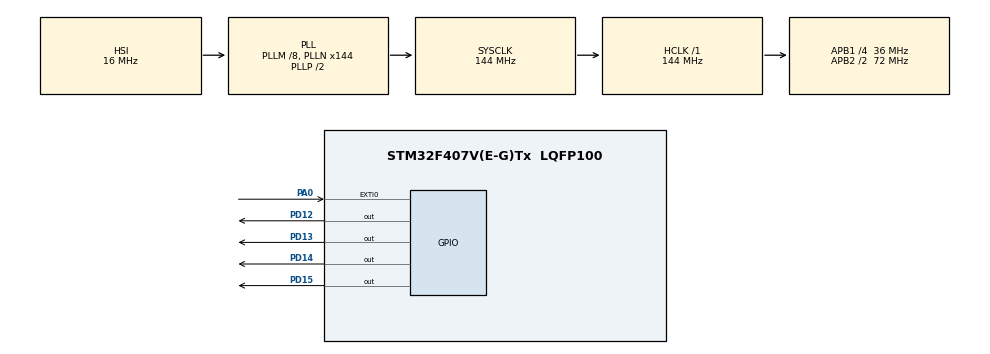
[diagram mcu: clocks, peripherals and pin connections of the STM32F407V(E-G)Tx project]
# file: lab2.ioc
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Mcu.Family=STM32F4
Mcu.Name=STM32F407V(E-G)Tx
Mcu.Package=LQFP100
NVIC.EXTI0_IRQn=true\:0\:0\:false\:false\:true\:true\:true\:true
NVIC.PriorityGroup=NVIC_PRIORITYGROUP_4
NVIC.TIM3_IRQn=true\:0\:0\:false\:false\:true\:true\:true\:true
PA0-WKUP.GPIO_ModeDefaultEXTI=GPIO_MODE_IT_RISING_FALLING
PA0-WKUP.Signal=GPXTI0
PA13.Mode=Serial_Wire
PA13.Signal=SYS_JTMS-SWDIO
PA14.Mode=Serial_Wire
PA14.Signal=SYS_JTCK-SWCLK
PC14-OSC32_IN.Mode=LSE-External-Oscillator
PC14-OSC32_IN.Signal=RCC_OSC32_IN
PC15-OSC32_OUT.Mode=LSE-External-Oscillator
PC15-OSC32_OUT.Signal=RCC_OSC32_OUT
PD12.Signal=GPIO_Output
PD13.Signal=GPIO_Output
PD14.Signal=GPIO_Output
PD15.Signal=GPIO_Output
PH0-OSC_IN.Mode=HSE-External-Oscillator
PH0-OSC_IN.Signal=RCC_OSC_IN
PH1-OSC_OUT.Mode=HSE-External-Oscillator
PH1-OSC_OUT.Signal=RCC_OSC_OUT
ProjectManager.HeapSize=0x200
ProjectManager.StackSize=0x400
ProjectManager.TargetToolchain=STM32CubeIDE
RCC.48MHZClocksFreq_Value=72000000
RCC.AHBFreq_Value=144000000
RCC.APB1CLKDivider=RCC_HCLK_DIV4
RCC.APB1Freq_Value=36000000
RCC.APB1TimFreq_Value=72000000
RCC.APB2CLKDivider=RCC_HCLK_DIV2
RCC.APB2Freq_Value=72000000
RCC.APB2TimFreq_Value=144000000
RCC.CortexFreq_Value=144000000
RCC.HCLKFreq_Value=144000000
RCC.HSE_VALUE=25000000
RCC.HSI_VALUE=16000000
RCC.PLLM=8
RCC.PLLN=144
RCC.SYSCLKFreq_VALUE=144000000
RCC.SYSCLKSource=RCC_SYSCLKSOURCE_PLLCLK
RCC.VCOOutputFreq_Value=288000000
TIM3.Period=10000
TIM3.Prescaler=7199
VP_TIM3_VS_ClockSourceINT.Mode=Internal
board=custom

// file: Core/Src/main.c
/* USER CODE BEGIN Header */
/**
  ******************************************************************************
  * @file           : main.c
  * @brief          : Main program body
  ******************************************************************************
  * @attention
  *
  * Copyright (c) 2024 STMicroelectronics.
  * All rights reserved.
  *
  * This software is licensed under terms that can be found in the LICENSE file
  * in the root directory of this software component.
  * If no LICENSE file comes with this software, it is provided AS-IS.
  *
  ******************************************************************************
  */
/* USER CODE END Header */
#include "main.h"
#include "tim.h"
#include "gpio.h"

/* USER CODE BEGIN PV */
// Глобальні змінні
// Глобальні змінні
uint32_t currentTime = 0;
uint32_t previousTime = 0;
uint8_t ledSequence = 1;
uint8_t buttonState = 0;
uint32_t buttonPressTime = 0;
/* USER CODE END PV */

void SystemClock_Config(void);

/* USER CODE BEGIN 0 */
// Функція для перемикання світлодіодів
void SwitchLED(void) {
    switch (ledSequence) {
        case 1:
            HAL_GPIO_WritePin(GPIOD, GPIO_PIN_15, GPIO_PIN_SET); // Blue
            HAL_GPIO_WritePin(GPIOD, GPIO_PIN_14 | GPIO_PIN_12, GPIO_PIN_RESET);
            ledSequence = 2;
            break;
        case 2:
            HAL_GPIO_WritePin(GPIOD, GPIO_PIN_14, GPIO_PIN_SET); // Red
            HAL_GPIO_WritePin(GPIOD, GPIO_PIN_15 | GPIO_PIN_12, GPIO_PIN_RESET);
            ledSequence = 3;
            break;
        case 3:
            HAL_GPIO_WritePin(GPIOD, GPIO_PIN_12, GPIO_PIN_SET); // Green
            HAL_GPIO_WritePin(GPIOD, GPIO_PIN_15 | GPIO_PIN_14, GPIO_PIN_RESET);
            ledSequence = 1;
            break;
        default:
            ledSequence = 1;
            break;
    }
}
/* USER CODE END 0 */

int main(void)
{

  /* MCU Configuration--------------------------------------------------------*/

  /* Reset of all peripherals, Initializes the Flash interface and the Systick. */
  HAL_Init();

  /* Configure the system clock */
  SystemClock_Config();

  /* Initialize all configured peripherals */
  MX_GPIO_Init();
  MX_TIM3_Init();
  /* USER CODE BEGIN 2 */
  HAL_TIM_Base_Start_IT(&htim3);
  /* USER CODE END 2 */

  /* Infinite loop */
  /* USER CODE BEGIN WHILE */
  while (1) {
     // Перевіряємо, чи пройшла одна секунда
     if ((currentTime - previousTime) >= 1) {
         SwitchLED();
         previousTime = currentTime;
     }
   }
}

void SystemClock_Config(void)
{
  RCC_OscInitTypeDef RCC_OscInitStruct = {0};
  RCC_ClkInitTypeDef RCC_ClkInitStruct = {0};

  /** Configure the main internal regulator output voltage
  */
  __HAL_RCC_PWR_CLK_ENABLE();
  __HAL_PWR_VOLTAGESCALING_CONFIG(PWR_REGULATOR_VOLTAGE_SCALE1);

  /** Initializes the RCC Oscillators according to the specified parameters
  * in the RCC_OscInitTypeDef structure.
  */
  RCC_OscInitStruct.OscillatorType = RCC_OSCILLATORTYPE_HSI;
  RCC_OscInitStruct.HSIState = RCC_HSI_ON;
  RCC_OscInitStruct.HSICalibrationValue = RCC_HSICALIBRATION_DEFAULT;
  RCC_OscInitStruct.PLL.PLLState = RCC_PLL_ON;
  RCC_OscInitStruct.PLL.PLLSource = RCC_PLLSOURCE_HSI;
  RCC_OscInitStruct.PLL.PLLM = 8;
  RCC_OscInitStruct.PLL.PLLN = 144;
  RCC_OscInitStruct.PLL.PLLP = RCC_PLLP_DIV2;
  RCC_OscInitStruct.PLL.PLLQ = 4;
  if (HAL_RCC_OscConfig(&RCC_OscInitStruct) != HAL_OK)
  {
    Error_Handler();
  }

  /** Initializes the CPU, AHB and APB buses clocks
  */
  RCC_ClkInitStruct.ClockType = RCC_CLOCKTYPE_HCLK|RCC_CLOCKTYPE_SYSCLK
                              |RCC_CLOCKTYPE_PCLK1|RCC_CLOCKTYPE_PCLK2;
  RCC_ClkInitStruct.SYSCLKSource = RCC_SYSCLKSOURCE_PLLCLK;
  RCC_ClkInitStruct.AHBCLKDivider = RCC_SYSCLK_DIV1;
  RCC_ClkInitStruct.APB1CLKDivider = RCC_HCLK_DIV4;
  RCC_ClkInitStruct.APB2CLKDivider = RCC_HCLK_DIV2;

  if (HAL_RCC_ClockConfig(&RCC_ClkInitStruct, FLASH_LATENCY_4) != HAL_OK)
  {
    Error_Handler();
  }
}

/* USER CODE BEGIN 4 */
// Функція обробки переривання від TIM3
void HAL_TIM_PeriodElapsedCallback(TIM_HandleTypeDef *htim) {
    if (htim == &htim3) {
        currentTime++; // Збільшуємо поточний час на 1 секунду
    }
}

// Функція обробки переривання від кнопки
void HAL_GPIO_EXTI_Callback(uint16_t GPIO_Pin) {
    if (GPIO_Pin == GPIO_PIN_0) {
        if (buttonState == 0) {
            SwitchLED(); // Передчасне перемикання світлодіода
            buttonState = 1;
            buttonPressTime = currentTime;
        } else if ((currentTime - buttonPressTime) > 0.1) { // Перевірка на дребезг
            buttonState = 0;
        }
    }
}
/* USER CODE END 4 */

void Error_Handler(void)
{
  __disable_irq();
  while (1)
  {
  }
}
